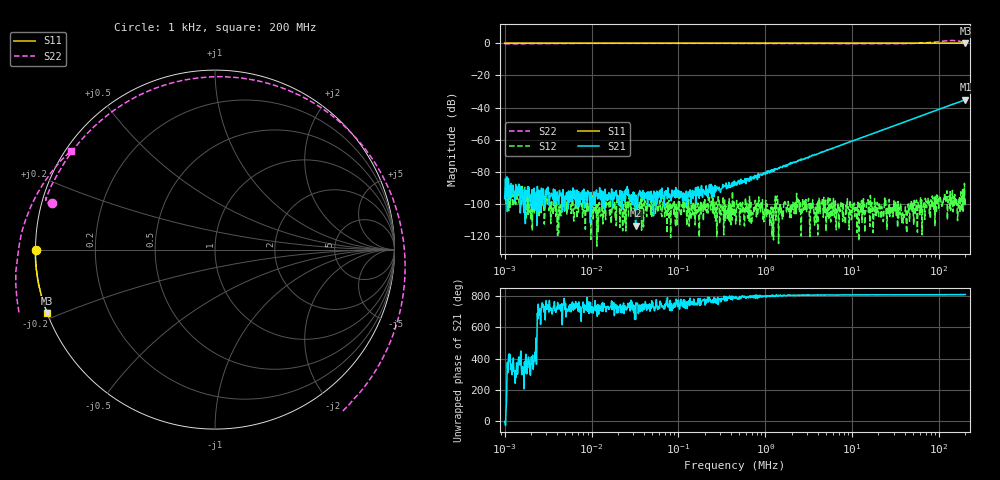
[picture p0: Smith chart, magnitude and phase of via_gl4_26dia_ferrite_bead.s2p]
! ListType=Log
# MHZ S RI R 50
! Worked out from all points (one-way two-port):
!   1000 points, 1 kHz to 200 MHz, reference 50 ohm
!   highest |S21| = -35.10 dB at 200 MHz (marker M1); lowest = -113.3 dB at 32.14 kHz (marker M2)
!   lowest |S11| = 0.0 dB at 200 MHz (marker M3)
!   |S11| at or under -10 dB: nowhere
!   |S22| runs from -0.5 to 1.7 dB; largest |S21 - S12| = 0.018
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0.001  -0.9992 -0.000326  1.49e-05 -1.6e-06  -1.15e-05 -2.99e-05  -0.9089 0.26
0.0076941  -1 -0.000225  2.13e-05 1.2e-06  -2.1e-06 8.4e-06  -0.9422 0.2759
0.0321366  -1 -0.000113  8e-07 -2e-06  4.1e-06 -3.1e-06  -0.9418 0.2857
0.0584804  -1 -0.000139  2.25e-05 5.3e-06  1.1e-06 -7.5e-06  -0.9406 0.2882
0.4499541  -1 -0.000947  1.76e-05 4.11e-05  1.8e-06 7.1e-06  -0.9349 0.303
1.084487  -1 -0.00223  1.51e-05 9.92e-05  -4.8e-06 2.7e-06  -0.9255 0.3245
3.419952  -1.001 -0.00663  1.89e-05 0.000328  -1.8e-06 -7.2e-06  -0.8867 0.4028
12.03851  -1.001 -0.0228  2.65e-05 0.00109  -7.5e-06 -3e-07  -0.7122 0.6466
18.46267  -1.001 -0.0347  3.92e-05 0.00166  1.7e-06 -4.3e-06  -0.5466 0.7874
26.31347  -1 -0.0491  4.61e-05 0.00237  3.6e-06 -3.5e-06  -0.3118 0.9064
38.43037  -0.9991 -0.0712  4.57e-05 0.00344  1.2e-06 -2.3e-06  0.0882 0.9611
50.9003  -0.9975 -0.0939  5.11e-05 0.00455  -1e-07 -2.3e-06  0.4925 0.8486
64.99008  -0.9949 -0.1194  6.62e-05 0.0058  6e-06 -3.9e-06  0.8567 0.5339
81.97236  -0.9907 -0.1499  5.95e-05 0.00731  5.3e-06 -7.1e-06  1.057 -0.0223
92.62555  -0.9876 -0.1689  6.86e-05 0.00825  -3.4e-06 -4.1e-06  1.016 -0.4025
103.3922  -0.984 -0.1879  4.65e-05 0.00918  -9.6e-06 -1.12e-05  0.8402 -0.7545
116.8291  -0.9789 -0.2117  4.88e-05 0.0104  1.25e-05 -4.9e-06  0.4616 -1.075
128.8255  -0.9738 -0.2326  4.42e-05 0.0114  -1.25e-05 -1.01e-05  0.0311 -1.195
145.5678  -0.9654 -0.2621  8.68e-05 0.0129  5.8e-06 -1.22e-05  -0.5687 -1.06
164.4859  -0.9562 -0.294  -1.16e-05 0.0145  4.6e-06 -3.3e-06  -1.028 -0.5582
179.1732  -0.9472 -0.3179  -0.000131 0.0157  -1.87e-05 -8.8e-06  -1.102 -0.0581
200  -0.9344 -0.3524  -0.000138 0.0176  -1.29e-05 -6.6e-06  -0.8026 0.5506
